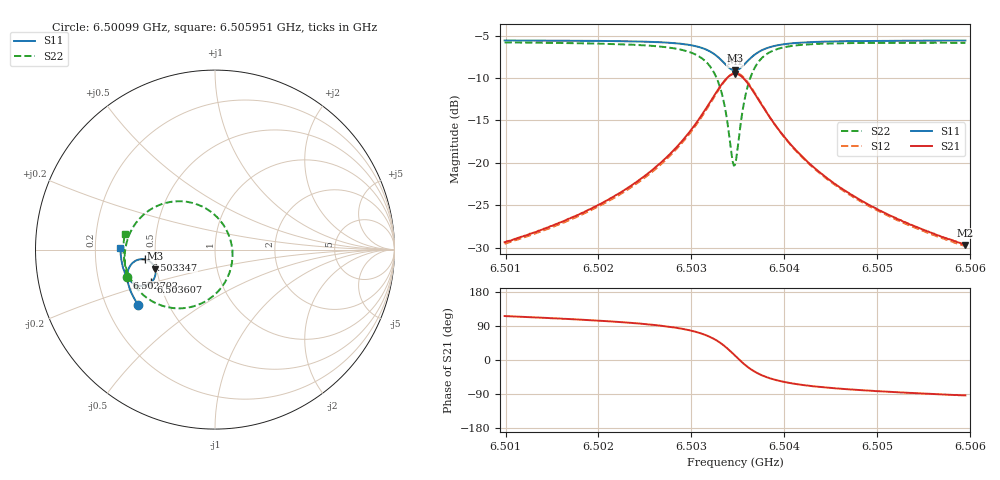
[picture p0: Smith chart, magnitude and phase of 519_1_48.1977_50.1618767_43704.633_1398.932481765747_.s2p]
#  HZ  S  RI  R  50.00
! Rohde & Schwarz Vector Network Analyzer
! Rohde-Schwarz,ZNB20-2Port,1311601062101988,3.16
! Created: UTC 3/20/2024, 11:59:17 AM
! freq[Hz]  re:S11  im:S11  re:S21  im:S21  re:S12  im:S12  re:S22  im:S22
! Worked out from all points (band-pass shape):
!   401 points, 6.50099 GHz to 6.505951 GHz, reference 50 ohm
!   highest |S21| = -9.49 dB at 6.503471 GHz (marker M1); lowest = -29.7 dB at 6.505951 GHz (marker M2)
!   |S21| within 3 dB of the highest: 6.503223 GHz to 6.50372 GHz (497.1 kHz wide, 0.00764 % of centre)
!   lowest |S11| = -9.1 dB at 6.503471 GHz (marker M3), VSWR 2.08, Z = 24.5 - j5.88 ohm
!   |S11| at or under -10 dB: nowhere
!   |S22| runs from -20.3 to -5.8 dB; largest |S21 - S12| = 0.011
!   S11 on the Smith chart (normalised r, x): 6.50099 GHz: 0.34, -0.29; 6.502702 GHz: 0.33, -0.14; 6.503347 GHz: 0.44, -0.06; 6.503607 GHz: 0.45, -0.19; 6.505951 GHz: 0.31, +0.01
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6.5009899e9  -0.4279 -0.3079  -0.0149 0.0306  -0.0132 0.0305  -0.4904 -0.1519
6.5018209e9  -0.4635 -0.2461  -0.0142 0.0485  -0.0119 0.048  -0.503 -0.063
6.502255e9  -0.4788 -0.2075  -0.0114 0.0667  -0.00871 0.0657  -0.5002 -0.00139
6.5026519e9  -0.4881 -0.1637  -0.00188 0.0978  0.00159 0.0956  -0.4796 0.0783
6.5027015e9  -0.4886 -0.157  0.000567 0.1036  0.00412 0.1011  -0.4742 0.091
6.5029372e9  -0.4854 -0.1202  0.023 0.1401  0.0266 0.1362  -0.4275 0.1647
6.5030984e9  -0.4712 -0.0881  0.0618 0.176  0.0645 0.1704  -0.3521 0.2281
6.5032473e9  -0.434 -0.0583  0.1425 0.2048  0.1431 0.1989  -0.2051 0.2695
6.5033465e9  -0.3879 -0.0552  0.2328 0.1888  0.233 0.1844  -0.0485 0.228
6.5034333e9  -0.3452 -0.0836  0.311 0.1154  0.3132 0.1118  0.0756 0.0838
6.5034581e9  -0.3372 -0.0976  0.3243 0.084  0.3275 0.0796  0.093 0.0246
6.5034705e9  -0.3344 -0.1053  0.3287 0.0673  0.3323 0.0624  0.097 -0.00648
6.5034953e9  -0.3314 -0.1213  0.3325 0.0331  0.3363 0.0269  0.095 -0.0694
6.5035326e9  -0.3333 -0.145  0.3252 -0.0168  0.3291 -0.025  0.0686 -0.1574
6.503607e9  -0.3551 -0.1819  0.2796 -0.0928  0.28 -0.1038  -0.0394 -0.2799
6.5037186e9  -0.4004 -0.2021  0.1937 -0.1383  0.1887 -0.1478  -0.2139 -0.3272
6.5038798e9  -0.4474 -0.1927  0.1103 -0.135  0.1035 -0.14  -0.3639 -0.2796
6.5040535e9  -0.4753 -0.1713  0.065 -0.1142  0.0589 -0.1166  -0.4374 -0.2137
6.5043015e9  -0.4962 -0.1415  0.0345 -0.0894  0.0298 -0.09  -0.4813 -0.1405
6.5046736e9  -0.5119 -0.1023  0.0151 -0.0657  0.0119 -0.0654  -0.504 -0.0654
6.5051326e9  -0.5213 -0.0595  0.00519 -0.0487  0.00286 -0.0482  -0.5104 0.00031
6.5059512e9  -0.5266 0.01  -0.00198 -0.0327  -0.00329 -0.032  -0.5028 0.0878
